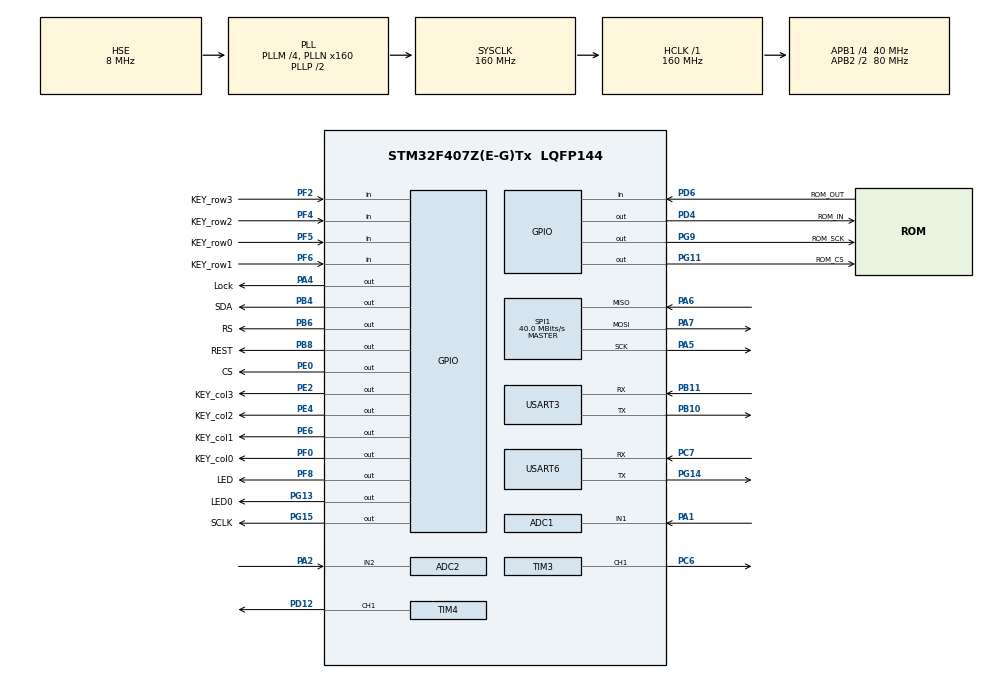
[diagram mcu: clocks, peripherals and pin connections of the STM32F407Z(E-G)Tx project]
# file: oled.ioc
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ADC1.Channel-0\#ChannelRegularConversion=ADC_CHANNEL_1
ADC1.DMAContinuousRequests=ENABLE
ADC1.EOCSelection=ADC_EOC_SEQ_CONV
ADC1.ExternalTrigConv=ADC_EXTERNALTRIGCONV_T2_TRGO
ADC1.NbrOfConversionFlag=1
ADC1.Rank-0\#ChannelRegularConversion=1
ADC1.SamplingTime-0\#ChannelRegularConversion=ADC_SAMPLETIME_3CYCLES
ADC1.ScanConvMode=ENABLE
ADC1.master=1
ADC2.Channel-3\#ChannelRegularConversion=ADC_CHANNEL_2
ADC2.DMAContinuousRequests=ENABLE
ADC2.EOCSelection=ADC_EOC_SEQ_CONV
ADC2.ExternalTrigConv=ADC_EXTERNALTRIGCONV_T2_TRGO
ADC2.NbrOfConversionFlag=1
ADC2.Rank-3\#ChannelRegularConversion=1
ADC2.SamplingTime-3\#ChannelRegularConversion=ADC_SAMPLETIME_3CYCLES
ADC2.ScanConvMode=ENABLE
Dma.ADC1.0.Direction=DMA_PERIPH_TO_MEMORY
Dma.ADC1.0.FIFOMode=DMA_FIFOMODE_DISABLE
Dma.ADC1.0.Instance=DMA2_Stream0
Dma.ADC1.0.MemDataAlignment=DMA_MDATAALIGN_HALFWORD
Dma.ADC1.0.MemInc=DMA_MINC_ENABLE
Dma.ADC1.0.Mode=DMA_CIRCULAR
Dma.ADC1.0.PeriphDataAlignment=DMA_PDATAALIGN_HALFWORD
Dma.ADC1.0.PeriphInc=DMA_PINC_DISABLE
Dma.ADC1.0.Priority=DMA_PRIORITY_LOW
Dma.ADC2.1.Direction=DMA_PERIPH_TO_MEMORY
Dma.ADC2.1.FIFOMode=DMA_FIFOMODE_DISABLE
Dma.ADC2.1.Instance=DMA2_Stream2
Dma.ADC2.1.MemDataAlignment=DMA_MDATAALIGN_HALFWORD
Dma.ADC2.1.MemInc=DMA_MINC_ENABLE
Dma.ADC2.1.Mode=DMA_CIRCULAR
Dma.ADC2.1.PeriphDataAlignment=DMA_PDATAALIGN_HALFWORD
Dma.ADC2.1.PeriphInc=DMA_PINC_DISABLE
Dma.ADC2.1.Priority=DMA_PRIORITY_LOW
Dma.Request0=ADC1
Dma.Request1=ADC2
Mcu.Family=STM32F4
Mcu.Name=STM32F407Z(E-G)Tx
Mcu.Package=LQFP144
NVIC.DMA2_Stream0_IRQn=true\:0\:0\:false\:false\:true\:false\:true\:true
NVIC.DMA2_Stream2_IRQn=true\:0\:0\:false\:false\:true\:false\:true\:true
NVIC.PriorityGroup=NVIC_PRIORITYGROUP_4
PA1.Signal=ADCx_IN1
PA13.Mode=Serial_Wire
PA13.Signal=SYS_JTMS-SWDIO
PA14.Mode=Serial_Wire
PA14.Signal=SYS_JTCK-SWCLK
PA2.Signal=ADCx_IN2
PA4.GPIO_Label=Lock
PA4.Signal=GPIO_Output
PA5.Mode=Full_Duplex_Master
PA5.Signal=SPI1_SCK
PA6.Mode=Full_Duplex_Master
PA6.Signal=SPI1_MISO
PA7.Mode=Full_Duplex_Master
PA7.Signal=SPI1_MOSI
PB10.Mode=Asynchronous
PB10.Signal=USART3_TX
PB11.Mode=Asynchronous
PB11.Signal=USART3_RX
PB4.GPIO_Label=SDA
PB4.GPIO_Speed=GPIO_SPEED_FREQ_MEDIUM
PB4.Signal=GPIO_Output
PB6.GPIO_Label=RS
PB6.GPIO_Speed=GPIO_SPEED_FREQ_MEDIUM
PB6.Signal=GPIO_Output
PB8.GPIO_Label=REST
PB8.GPIO_Speed=GPIO_SPEED_FREQ_MEDIUM
PB8.Signal=GPIO_Output
PC14-OSC32_IN.Mode=LSE-External-Oscillator
PC14-OSC32_IN.Signal=RCC_OSC32_IN
PC15-OSC32_OUT.Mode=LSE-External-Oscillator
PC15-OSC32_OUT.Signal=RCC_OSC32_OUT
PC6.Signal=S_TIM3_CH1
PC7.Mode=Asynchronous
PC7.Signal=USART6_RX
PD12.Signal=S_TIM4_CH1
PD4.GPIO_Label=ROM_IN
PD4.GPIO_Speed=GPIO_SPEED_FREQ_MEDIUM
PD4.Signal=GPIO_Output
PD6.GPIO_Label=ROM_OUT
PD6.GPIO_PuPd=GPIO_PULLUP
PD6.Signal=GPIO_Input
PE0.GPIO_Label=CS
PE0.GPIO_Speed=GPIO_SPEED_FREQ_MEDIUM
PE0.Signal=GPIO_Output
PE2.GPIO_Label=KEY_col3
PE2.PinState=GPIO_PIN_SET
PE2.Signal=GPIO_Output
PE4.GPIO_Label=KEY_col2
PE4.PinState=GPIO_PIN_SET
PE4.Signal=GPIO_Output
PE6.GPIO_Label=KEY_col1
PE6.PinState=GPIO_PIN_SET
PE6.Signal=GPIO_Output
PF0.GPIO_Label=KEY_col0
PF0.PinState=GPIO_PIN_SET
PF0.Signal=GPIO_Output
PF2.GPIO_Label=KEY_row3
PF2.GPIO_PuPd=GPIO_PULLDOWN
PF2.Signal=GPIO_Input
PF4.GPIO_Label=KEY_row2
PF4.GPIO_PuPd=GPIO_PULLDOWN
PF4.Signal=GPIO_Input
PF5.GPIO_Label=KEY_row0
PF5.GPIO_PuPd=GPIO_PULLDOWN
PF5.Signal=GPIO_Input
PF6.GPIO_Label=KEY_row1
PF6.GPIO_PuPd=GPIO_PULLDOWN
PF6.Signal=GPIO_Input
PF8.GPIO_Label=LED
PF8.GPIO_PuPd=GPIO_PULLUP
PF8.Signal=GPIO_Output
PG11.GPIO_Label=ROM_CS
PG11.GPIO_Speed=GPIO_SPEED_FREQ_MEDIUM
PG11.Signal=GPIO_Output
PG13.GPIO_Label=LED0
PG13.GPIO_PuPd=GPIO_PULLUP
PG13.Signal=GPIO_Output
PG14.Mode=Asynchronous
PG14.Signal=USART6_TX
PG15.GPIO_Label=SCLK
PG15.GPIO_Speed=GPIO_SPEED_FREQ_MEDIUM
PG15.Signal=GPIO_Output
PG9.GPIO_Label=ROM_SCK
PG9.GPIO_Speed=GPIO_SPEED_FREQ_MEDIUM
PG9.Signal=GPIO_Output
PH0-OSC_IN.Mode=HSE-External-Oscillator
PH0-OSC_IN.Signal=RCC_OSC_IN
PH1-OSC_OUT.Mode=HSE-External-Oscillator
PH1-OSC_OUT.Signal=RCC_OSC_OUT
ProjectManager.HeapSize=0x200
ProjectManager.StackSize=0x400
ProjectManager.TargetToolchain=STM32CubeIDE
RCC.48MHZClocksFreq_Value=80000000
RCC.AHBFreq_Value=160000000
RCC.APB1CLKDivider=RCC_HCLK_DIV4
RCC.APB1Freq_Value=40000000
RCC.APB1TimFreq_Value=80000000
RCC.APB2CLKDivider=RCC_HCLK_DIV2
RCC.APB2Freq_Value=80000000
RCC.APB2TimFreq_Value=160000000
RCC.CortexFreq_Value=160000000
RCC.HCLKFreq_Value=160000000
RCC.HSE_VALUE=8000000
RCC.HSI_VALUE=16000000
RCC.PLLM=4
RCC.PLLN=160
RCC.PLLSourceVirtual=RCC_PLLSOURCE_HSE
RCC.SYSCLKFreq_VALUE=160000000
RCC.SYSCLKSource=RCC_SYSCLKSOURCE_PLLCLK
RCC.VCOOutputFreq_Value=320000000
SH.ADCx_IN1.0=ADC1_IN1,IN1
SH.ADCx_IN2.0=ADC2_IN2,IN2
SH.S_TIM3_CH1.0=TIM3_CH1,PWM Generation1 CH1
SH.S_TIM4_CH1.0=TIM4_CH1,PWM Generation1 CH1
SPI1.CalculateBaudRate=40.0 MBits/s
SPI1.Direction=SPI_DIRECTION_2LINES
SPI1.Mode=SPI_MODE_MASTER
SPI1.VirtualType=VM_MASTER
TIM2.AutoReloadPreload=TIM_AUTORELOAD_PRELOAD_DISABLE
TIM2.Channel-Output\ Compare1\ No\ Output=TIM_CHANNEL_1
TIM2.Period=20-1
TIM2.Prescaler=21-1
TIM2.TIM_MasterOutputTrigger=TIM_TRGO_UPDATE
TIM3.AutoReloadPreload=TIM_AUTORELOAD_PRELOAD_ENABLE
TIM3.Channel-PWM\ Generation1\ CH1=TIM_CHANNEL_1
TIM3.Period=2000-1
TIM3.Prescaler=2-1
TIM3.Pulse-PWM\ Generation1\ CH1=0
TIM4.AutoReloadPreload=TIM_AUTORELOAD_PRELOAD_ENABLE
TIM4.Channel-PWM\ Generation1\ CH1=TIM_CHANNEL_1
TIM4.Period=2000-1
TIM4.Prescaler=2-1
USART3.VirtualMode=VM_ASYNC
USART6.VirtualMode=VM_ASYNC
VP_TIM2_VS_ClockSourceINT.Mode=Internal
VP_TIM2_VS_no_output1.Mode=Output Compare1 No Output
VP_TIM3_VS_ClockSourceINT.Mode=Internal
VP_TIM4_VS_ClockSourceINT.Mode=Internal
board=custom

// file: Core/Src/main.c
/* USER CODE BEGIN Header */
/**
  ******************************************************************************
  * @file           : main.c
  * @brief          : Main program body
  ******************************************************************************
  * @attention
  *
  * Copyright (c) 2022 STMicroelectronics.
  * All rights reserved.
  *
  * This software is licensed under terms that can be found in the LICENSE file
  * in the root directory of this software component.
  * If no LICENSE file comes with this software, it is provided AS-IS.
  *
  ******************************************************************************
  */
/* USER CODE END Header */
#include "main.h"
#include "adc.h"
#include "dma.h"
#include "spi.h"
#include "tim.h"
#include "usart.h"
#include "gpio.h"

/* USER CODE BEGIN Includes */
#include "base.h"
#include "lcd12864.h"
#include "arm_math.h"
#include "NJY_KEY.h"
#include "w25qxx.h"
#include "stdio.h"
/* USER CODE END Includes */

/* USER CODE BEGIN PTD */

typedef struct{
	arm_pid_instance_f32 S;
	float				 out;
}PidCtrlTypedef;							//pidt调节结构体

PidCtrlTypedef pidCtrl;						//电压pid
PidCtrlTypedef pid2;						//电流pid

/* USER CODE END PTD */

/* USER CODE BEGIN PD */

#define BUF_LEN					4000		//采样数组长度
#define PWM_PERIOD_CCR1			2000		//PWM周期-计数值
//#define DES_VOL					1.0			//目标电压
#define ERR_LIMIT					0.001		//误差限制
#define MAX_PWM					0.78		//最大占空比
#define MIN_PWM					0.01		//最大占空比
#define Vol_step					0.1/6		//Vol步进，步进0.1，硬件采集/6倍
#define VtoI						1.025/2			//电压转电流倍率

#define blockade HAL_GPIO_WritePin(GPIOA, GPIO_PIN_4, GPIO_PIN_RESET)
#define blockadeOFF HAL_GPIO_WritePin(GPIOA, GPIO_PIN_4, GPIO_PIN_SET)
#define LED_ON HAL_GPIO_WritePin(GPIOF, GPIO_PIN_8, GPIO_PIN_RESET)
#define LED_OFF HAL_GPIO_WritePin(GPIOF, GPIO_PIN_8, GPIO_PIN_SET)
/* USER CODE END PD */

/* USER CODE BEGIN PM */

//串口重定向
#ifdef  __GNUC__
#define PUTCHAR_PROTOTYPE int __io_putchar(int ch)
#else
#define PUTCHAR_PROTOTYPE int fputc(int ch,FILE *f)
#endif

PUTCHAR_PROTOTYPE
{
    HAL_UART_Transmit(&huart1,(uint8_t*)&ch,1,HAL_MAX_DELAY);
    return ch;
}
int _write(int file,char *ptr,int len)
{
    int Dataldx;

    for(Dataldx=0;Dataldx<len;Dataldx++)
    {
    	__io_putchar(*ptr++);

    }
    return len;
}
//串口重定向

/* USER CODE END PM */

/* USER CODE BEGIN PV */

float DES_VOL = 2.0	;						//目标电压
volatile u8 dma_cpl_flag = 0;				//dma传输完成标志
u16 adc_raw[BUF_LEN] = {0};					//adc原始采样值
u16 adc_raw_copy[BUF_LEN] = {0};			//adc原始采样值备份
float cur_vol = 0;							//当前电压
u8 KEY=0;

float DES_INT = 2.0;						//目标电流
u16 adc2_raw[BUF_LEN] = {0};				//adc2原始采样值
u16 adc2_raw_copy[BUF_LEN] = {0};			//adc2原始采样值备份
float cur_int = 2.2;							//当前电压
int V_count = 12;								//步进

/* USER CODE END PV */

void SystemClock_Config(void);
/* USER CODE BEGIN PFP */
void HAL_ADC_ConvCpltCallback(ADC_HandleTypeDef *hadc);								/*ADC-DMA全传输完成回调函数*/
float calVol();																		/*根据原始采样值计算PWM等效电压值*/
void pidInit();																		/*PID初始化*/
static void pidExecu(float vol);													/*PID执行*/

void dutyCycle();
void setDuty();																		/*按键调节占空比*/
void setPidState();																	/*开启pid自动调节*/
void keySwitch();																	/*矩阵键盘各个按键功能*/
void keyGet();																		/*矩阵键盘输入与显示*/
void numError();																	/*数值限制器*/
/* USER CODE END PFP */

/* USER CODE BEGIN 0 */

/*ADC-DMA全传输完成回调函数*/
void HAL_ADC_ConvCpltCallback(ADC_HandleTypeDef *hadc)
{
	UNUSED(hadc);

	memcpy((void *)adc_raw_copy,(void *)adc_raw,sizeof(adc_raw));
	memcpy((void *)adc2_raw_copy,(void *)adc2_raw,sizeof(adc2_raw));
	dma_cpl_flag = 1;
}
float V=0;
/*根据原始采样值计算PWM等效电压值*/
float calVol()
{
	char buf[128];
	int i;
	float res;
	float sum = 0;
	float tempVal;
	for(i=0;i<BUF_LEN;i++)
	{

		tempVal=adc_raw_copy[i] * 3.3/ 4095;
//		if(tempVal<=1.5)					{tempVal+=0.0025;}
//		else if(tempVal>1.5)				{tempVal-=0.0045;}
//		else if(tempVal>1.5&&tempVal<=2.0)	{tempVal=tempVal-0.1*tempVal+0.2;}
//		V=adc_raw_copy[i];
		sum+=tempVal;
	}

	res = sum / BUF_LEN;
//	if(res > 1 && res <= 2.5)						{res-=0.01;}
//	else if(res > 2.5 && res <= 3.1)				{res-=0.026667;}
	if(res>1)										{res-=(DES_VOL-cur_int*3.15);}
	V=res;						//AD校准
	cur_vol = res;
//	sprintf(buf,"%.3f",cur_vol*6);
	sprintf(buf,"%.3f",V);
	display_GB2312_string(3,1,buf);

	return res;
}

/*根据原始采样值计算PWM等效电流值*/
float calInt()
{
	char buf[128];
	int i;
	float res;
	float sum = 0;
	float tempIns;
	for(i=0;i<BUF_LEN;i++)
	{
		tempIns=adc2_raw_copy[i] * 3.3 / 4095;
//		if(tempIns<=1.5)					{tempIns+=0.042;}
//		else if(tempIns>1.5&&tempIns<=2.0)	{tempIns=tempIns-0.1*tempIns+0.2;}
		sum+=tempIns;
	}

	res = sum / BUF_LEN;
	res*=VtoI;
	cur_int = res;
	sprintf(buf,"%.5f",cur_int);
	display_GB2312_string(5,1,buf);

	return res;
}

/*PID初始化*/
void pidInit()
{
	pidCtrl.S.Kp=0.05;
	pidCtrl.S.Ki=0.05;
	pidCtrl.S.Kd=0.05;
	arm_pid_init_f32(&pidCtrl.S, 1);

	pidCtrl.out=0;

}

/*PID执行*/
static void pidExecu(float vol)
{
	float pidErr;
	char buf[128];
	pidErr = DES_VOL - vol;
	//误差不在允许范围内
	if(fabs(pidErr) > ERR_LIMIT)
	{
		pidCtrl.out = arm_pid_f32(&pidCtrl.S, pidErr);
		//     vol			   pidCtrl.out
		//      	  	 =
		//	当前占空比			调节后占空比
		if(pidCtrl.out * (htim3.Instance->CCR1 + 1)/vol >= (htim3.Instance->ARR+1)*MAX_PWM)
		{
			//__HAL_TIM_SET_COMPARE(&htim3, TIM_CHANNEL_1,PWM_PERIOD_CCR1*MAX_PWM);
			htim3.Instance->CCR1 = (PWM_PERIOD_CCR1*MAX_PWM);
		}
		else if(pidCtrl.out * (htim3.Instance->CCR1 + 1)/vol <= (htim3.Instance->ARR+1)*MIN_PWM)
		{
			//__HAL_TIM_SET_COMPARE(&htim3, TIM_CHANNEL_1,PWM_PERIOD_CCR1*MIN_PWM);
			htim3.Instance->CCR1 = (PWM_PERIOD_CCR1*MIN_PWM);
		}
		else
		{
			htim3.Instance->CCR1 = (u32)(pidCtrl.out * (htim3.Instance->CCR1 + 1)/vol);
		}
		sprintf(buf,"%5.2f",(pidCtrl.out * (htim3.Instance->CCR1 + 1)/vol));
		display_GB2312_string(7,1,buf);
	}
}

/*自动封锁软启动*/
void autoBlock(float vol)
{
	if(vol > DES_INT)
	{
		blockade;LED_ON;
		HAL_Delay(100);

	}
	else
	{
		blockadeOFF;
		LED_OFF;
	}

}

/*按键调节占空比*/
int compare = 1000;
void dutyCycle()
{
	char buf[128];

	sprintf(buf,"%04d",compare);
	display_GB2312_string(1,7,buf);
}

void setDuty()
{
	__HAL_TIM_SET_COMPARE(&htim3,TIM_CHANNEL_1,compare);
}

/*开启pid自动调节*/
int autoPidFlag = 0;
void setPidState()
{
	if(autoPidFlag == 0){autoPidFlag = 1;}
	else {autoPidFlag = 0;}
}
u8 i=0;
/*矩阵键盘各个按键功能*/
void keySwitch()
{
	switch(KEY)
		 {
		 case 1:
		 {
			 blockade;
			 break;
		 }
		 case 2:
		 {
			 setPidState();
			 break;
		 }
		 case 3:
		 {
			 HAL_Delay(100);DES_VOL=Vol_step*(++V_count);break;
		 }
		 case 4:
		 {
			 HAL_Delay(100);DES_VOL=Vol_step*(--V_count);break;
		 }
		 case 5:
		 {
			 compare+=50;break;
		 }
		 case 6:
		 {
			 compare-=50;break;
		 }
		 case 7:
		 {
			 HAL_Delay(100);DES_VOL=Vol_step*(V_count+=10);break;
		 }
		 case 8:
		 {
			 HAL_Delay(100);DES_VOL=Vol_step*(V_count-=10);break;
		 }
		 case 9:
		 {
			 compare+=100;break;
		 }
		 case 10:
		 {
			 compare-=100;break;
		 }
		 case 11:
		 {
			 compare=1000;break;
		 }
		 case 12:
		 {
			 __HAL_TIM_SET_COMPARE(&htim3,TIM_CHANNEL_1,compare);break;
		 }
		 case 13:
		 {
			 break;
		 }
		 case 14:
		 {
			 blockadeOFF;
			 break;
		 }
		 case 15:
		 {
			 DES_INT+=0.1;
			 break;
		 }
		 case 16:
		 {
			 DES_INT-=0.1;
			 break;
		 }
		 default:break;
		 }
}

/*矩阵键盘输入与显示*/
void keyGet()
{
	char buf[20];
	 KEY=key_scan();
	 keySwitch();
	 numError();

	 sprintf(buf,"%02.3f",DES_VOL*6);
	 display_GB2312_string(3,60,buf);

	 sprintf(buf,"%.2f",DES_INT);
	 display_GB2312_string(5,80,buf);

}

/*数值限制器*/
void numError()
{
	if(DES_VOL <= 0)
	{
		DES_VOL=0;
	}
	if(DES_VOL >= 3)
	{
		DES_VOL=3                ;
	}
	if(DES_INT <= 0)
	{
		DES_INT=0;
	}
	if(DES_INT >= 2.4)
	{
		DES_INT=2.4;
	}
	if(V_count <= 0)
	{
		V_count = 0;
	}
	if(V_count >= 180)
	{
		V_count = 180;
	}
}

/* USER CODE END 0 */

int main(void)
{

  /* MCU Configuration--------------------------------------------------------*/

  /* Reset of all peripherals, Initializes the Flash interface and the Systick. */
  HAL_Init();

  /* Configure the system clock */
  SystemClock_Config();

  /* Initialize all configured peripherals */
  MX_GPIO_Init();
  MX_USART3_UART_Init();
  MX_DMA_Init();
  MX_USART6_UART_Init();
  MX_ADC1_Init();
  MX_TIM2_Init();
  MX_TIM3_Init();
  MX_SPI1_Init();
  MX_TIM4_Init();
  MX_ADC2_Init();
  /* USER CODE BEGIN 2 */
  delay_init(84);
  JLX12864G_086_GPIOInit();					//屏幕引脚初始化
  initial_lcd();							//lcd初始化
  clear_screen();							//清屏
  pidInit();								//pid初始化
  HAL_TIM_Base_Start(&htim2);				//开启tim2时钟
  HAL_TIM_PWM_Start(&htim3, TIM_CHANNEL_1);	//开启PWM波输出
  HAL_TIM_PWM_Start(&htim4, TIM_CHANNEL_1);	//开启PWM波输出

  HAL_ADC_Start_DMA(&hadc1, (u32*)adc_raw, BUF_LEN);	//开启ADC-DMA传输
  HAL_ADC_Start_DMA(&hadc2, (u32*)adc2_raw, BUF_LEN);	//开启ADC-DMA传输
  W25QXX_Init();							//W25QXX初始化
  delay_ms(50);
  __HAL_TIM_SET_COMPARE(&htim3,TIM_CHANNEL_1,compare);
  //清除内部flash全部数据

  LED_OFF;

  delay_ms(500);
  setPidState();

  /* USER CODE END 2 */

  /* Infinite loop */
  /* USER CODE BEGIN WHILE */
//  display_GB2312_string(1,1," 农杰颖 ");
  while (1)
  {
	  keyGet();
	  dutyCycle();
	  if(dma_cpl_flag == 1 && autoPidFlag == 1)
	  {
		  dma_cpl_flag = 0 ;
		  pidExecu(calVol());
		  autoBlock(calInt());
		  calInt();
	  }

    /* USER CODE END WHILE */

  }
}

void SystemClock_Config(void)
{
  RCC_OscInitTypeDef RCC_OscInitStruct = {0};
  RCC_ClkInitTypeDef RCC_ClkInitStruct = {0};

  /** Configure the main internal regulator output voltage
  */
  __HAL_RCC_PWR_CLK_ENABLE();
  __HAL_PWR_VOLTAGESCALING_CONFIG(PWR_REGULATOR_VOLTAGE_SCALE1);

  /** Initializes the RCC Oscillators according to the specified parameters
  * in the RCC_OscInitTypeDef structure.
  */
  RCC_OscInitStruct.OscillatorType = RCC_OSCILLATORTYPE_HSE;
  RCC_OscInitStruct.HSEState = RCC_HSE_ON;
  RCC_OscInitStruct.PLL.PLLState = RCC_PLL_ON;
  RCC_OscInitStruct.PLL.PLLSource = RCC_PLLSOURCE_HSE;
  RCC_OscInitStruct.PLL.PLLM = 4;
  RCC_OscInitStruct.PLL.PLLN = 160;
  RCC_OscInitStruct.PLL.PLLP = RCC_PLLP_DIV2;
  RCC_OscInitStruct.PLL.PLLQ = 4;
  if (HAL_RCC_OscConfig(&RCC_OscInitStruct) != HAL_OK)
  {
    Error_Handler();
  }

  /** Initializes the CPU, AHB and APB buses clocks
  */
  RCC_ClkInitStruct.ClockType = RCC_CLOCKTYPE_HCLK|RCC_CLOCKTYPE_SYSCLK
                              |RCC_CLOCKTYPE_PCLK1|RCC_CLOCKTYPE_PCLK2;
  RCC_ClkInitStruct.SYSCLKSource = RCC_SYSCLKSOURCE_PLLCLK;
  RCC_ClkInitStruct.AHBCLKDivider = RCC_SYSCLK_DIV1;
  RCC_ClkInitStruct.APB1CLKDivider = RCC_HCLK_DIV4;
  RCC_ClkInitStruct.APB2CLKDivider = RCC_HCLK_DIV2;

  if (HAL_RCC_ClockConfig(&RCC_ClkInitStruct, FLASH_LATENCY_5) != HAL_OK)
  {
    Error_Handler();
  }
}

void Error_Handler(void)
{
  __disable_irq();
  while (1)
  {
  }
}
